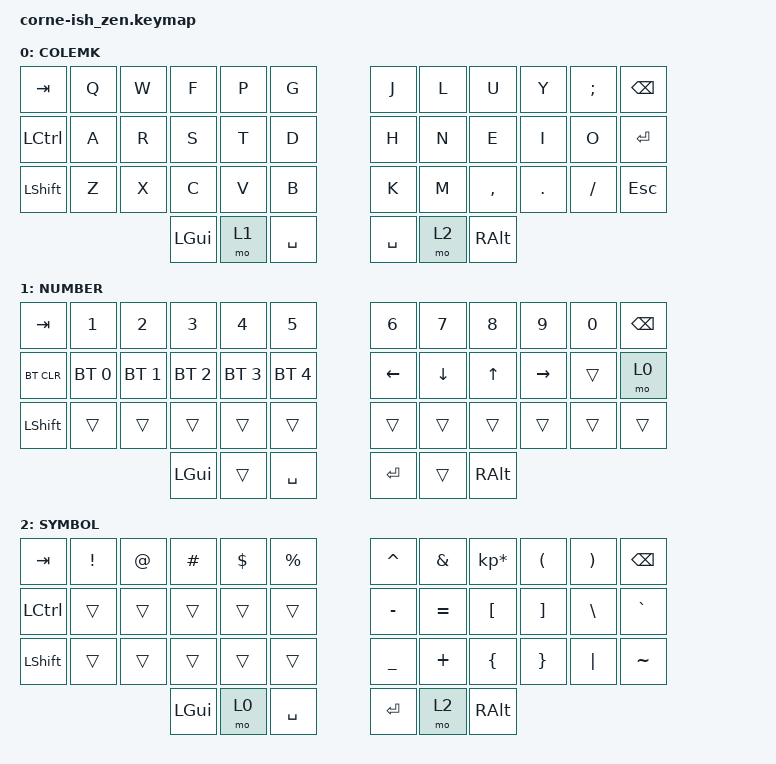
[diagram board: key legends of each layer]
/*
*
* Copyright (c) 2021 Darryl deHaan
* SPDX-License-Identifier: MIT
*
*/

#include <behaviors.dtsi>
#include <dt-bindings/zmk/keys.h>
#include <dt-bindings/zmk/bt.h>

#define COLEMK 0
#define NUMBER 1
#define SYMBOL 2

/ {
        keymap {
                compatible = "zmk,keymap";

                default_layer {
                        label = "COLEMK";
// -----------------------------------------------------------------------------------------
// |  TAB |  Q  |  W  |  F  |  P  |  G  |   |  J  |  L   |  U  |  Y  |  ;  | BKSP |
// | CTRL |  A  |  R  |  S  |  T  |  D  |   |  H  |  N   |  E  |  I  |  O  |  ENT |
// | SHFT |  Z  |  X  |  C  |  V  |  B  |   |  K  |  M   |  ,  |  .  |  /  | ESC  |
//                    | GUI | LWR | SPC |   | SPC | RSE  | ALT |
                        bindings = <
   &kp TAB   &kp Q &kp W &kp F &kp P &kp G   &kp J &kp L  &kp U     &kp Y   &kp SEMI    &kp BSPC
   &kp LCTRL &kp A &kp R &kp S &kp T &kp D   &kp H &kp N  &kp E     &kp I   &kp O   &kp RET
   &kp LSHFT &kp Z &kp X &kp C &kp V &kp B   &kp K &kp M  &kp COMMA &kp DOT &kp FSLH &kp ESC
                  &kp LGUI &mo 1 &kp SPACE   &kp SPACE &mo 2 &kp RALT
                        >;
                };

                lower_layer {
                        label = "NUMBER";
// -----------------------------------------------------------------------------------------
// |  TAB |  1  |  2  |  3  |  4  |  5  |   |  6  |  7  |  8  |  9  |  0  | BKSP |
// | BTCLR| BT1 | BT2 | BT3 | BT4 | BT5 |   | LFT | DWN |  UP | RGT |     | DEF  |
// | SHFT |     |     |     |     |     |   |     |     |     |     |     |      |
//                    | GUI |     | SPC |   | ENT |     | ALT |
                        bindings = <
   &kp TAB    &kp N1       &kp N2       &kp N3       &kp N4       &kp N5         &kp N6   &kp N7   &kp N8 &kp N9    &kp N0 &kp BSPC
   &bt BT_CLR &bt BT_SEL 0 &bt BT_SEL 1 &bt BT_SEL 2 &bt BT_SEL 3 &bt BT_SEL 4   &kp LEFT &kp DOWN &kp UP &kp RIGHT &trans &mo 0
   &kp LSHFT  &trans       &trans       &trans       &trans       &trans         &trans   &trans   &trans &trans    &trans &trans
                          	        &kp LGUI     &trans       &kp SPACE      &kp RET  &trans   &kp RALT
                        >;
                };

                raise_layer {
                        label = "SYMBOL";
// -----------------------------------------------------------------------------------------
// |  TAB |  !  |  @  |  #  |  $  |  %  |   |  ^  |  &  |  *  |  (  |  )  | BKSP |
// | CTRL |     |     |     |     |     |   |  -  |  =  |  [  |  ]  |  \  |  `   |
// | SHFT |     |     |     |     |     |   |  _  |  +  |  {  |  }  | "|" |  ~   |
//                    | GUI | DEF | SPC |   | ENT | RSE | ALT |
                        bindings = <
   &kp  TAB  &kp EXCL &kp AT &kp HASH &kp DLLR &kp PRCNT   &kp CARET &kp AMPS  &kp KP_MULTIPLY &kp LPAR &kp RPAR &kp BSPC
   &kp LCTRL &trans   &trans &trans   &trans   &trans      &kp MINUS &kp EQUAL &kp LBKT        &kp RBKT &kp BSLH &kp GRAVE
   &kp LSHFT &trans   &trans &trans   &trans   &trans      &kp UNDER &kp PLUS  &kp LBRC        &kp RBRC &kp PIPE &kp TILDE
			     &kp LGUI &mo 0   &kp SPACE   &kp RET   &mo 2    &kp RALT
                        >;
                };
        };
};
